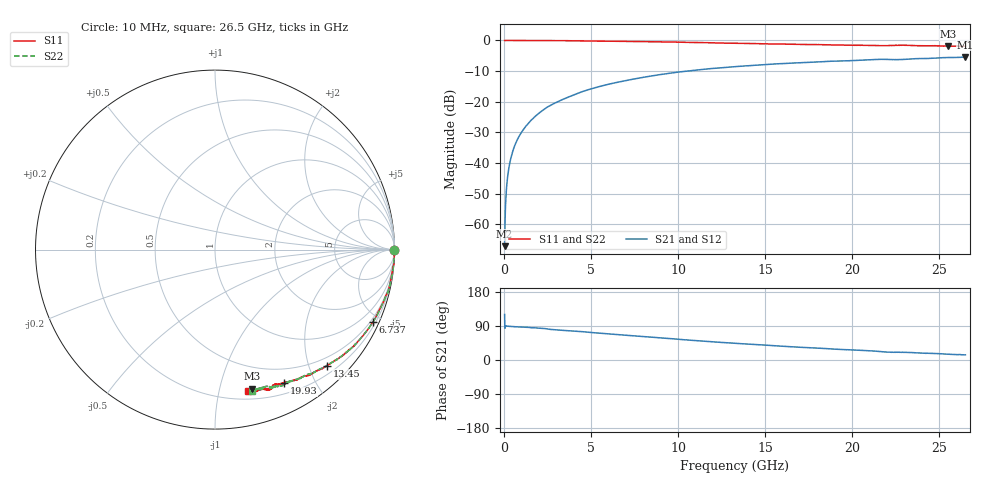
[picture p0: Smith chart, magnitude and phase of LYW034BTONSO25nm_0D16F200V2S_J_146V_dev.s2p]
!Keysight Technologies,N5222B,MY61253708,A.15.00.15
!Date: Wednesday, June 19, 2024 10:07:17
!Correction: S11(C  2-Port  )
!S21(C  2-Port  )
!S12(C  2-Port  )
!S22(C  2-Port  )
!S2P File: Measurements: S11, S21, S12, S22:
# Hz S  RI  R 50
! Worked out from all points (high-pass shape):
!   2651 points, 10 MHz to 26.5 GHz, reference 50 ohm
!   highest |S21| = -5.41 dB at 26.5 GHz (marker M1); lowest = -67.1 dB at 10 MHz (marker M2)
!   |S21| within 3 dB of the highest: 13.57 GHz to end of sweep
!   lowest |S11| = -1.9 dB at 25.5 GHz (marker M3), VSWR 9.10, Z = 14.5 - j63 ohm
!   |S11| at or under -10 dB: nowhere
!   |S22| runs from -1.8 to 0.0 dB; largest |S21 - S12| = 0.0061
!   S11 on the Smith chart (normalised r, x): 10 MHz: open; 6.737 GHz: 0.36, -4.57; 13.45 GHz: 0.34, -2.31; 19.93 GHz: 0.32, -1.60; 26.5 GHz: 0.27, -1.23
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1e7  0.9986 -0.00328  -0.000222 0.000383  -0.000178 0.000194  0.9986 -0.0017
6.997736e7  1 -0.00516  2.91e-05 0.00227  3.19e-05 0.00231  0.9998 -0.00471
1.599434e8  1 -0.0113  4.32e-05 0.00525  5.2e-05 0.00526  0.9997 -0.0105
1.999283e8  1 -0.0136  9.28e-05 0.00654  0.000103 0.00657  0.9998 -0.0127
2.499094e8  0.9996 -0.0171  0.000143 0.00816  0.000138 0.00819  0.9995 -0.0161
3.498717e8  0.9997 -0.0237  0.000261 0.0114  0.000291 0.0115  0.9996 -0.0226
4.798226e8  0.9988 -0.0323  0.000467 0.0157  0.000482 0.0158  0.9984 -0.031
6.397623e8  0.9988 -0.0424  0.000862 0.0209  0.000833 0.021  0.9985 -0.0409
8.296906e8  0.998 -0.055  0.00145 0.0269  0.00144 0.0271  0.998 -0.0536
1.449457e9  0.991 -0.0968  0.00339 0.0474  0.00346 0.0474  0.9932 -0.0924
2.329125e9  0.9825 -0.1503  0.00965 0.0767  0.00984 0.077  0.9837 -0.1498
3.208792e9  0.9716 -0.206  0.0206 0.1028  0.0208 0.1032  0.9724 -0.2038
4.428332e9  0.9438 -0.2785  0.0375 0.14  0.0378 0.1406  0.9461 -0.2742
6.73746e9  0.8805 -0.4021  0.0873 0.1968  0.0883 0.1972  0.883 -0.3994
8.846664e9  0.8064 -0.4998  0.1423 0.2351  0.1435 0.2355  0.8099 -0.4959
1.3255e10  0.6318 -0.641  0.2684 0.2606  0.2702 0.2601  0.6389 -0.6372
1.345492e10  0.6239 -0.6486  0.274 0.2607  0.2758 0.2594  0.6288 -0.6424
1.767333e10  0.4607 -0.722  0.3747 0.2344  0.3775 0.2325  0.4752 -0.718
1.993248e10  0.3853 -0.7449  0.4195 0.2106  0.4209 0.2079  0.4037 -0.7401
2.209166e10  0.3252 -0.7562  0.4581 0.1735  0.4593 0.1703  0.3237 -0.7619
2.550038e10  0.206 -0.7751  0.508 0.1376  0.5088 0.1368  0.2307 -0.778
2.65e10  0.1862 -0.7888  0.5213 0.1262  0.5204 0.1223  0.2042 -0.7878
